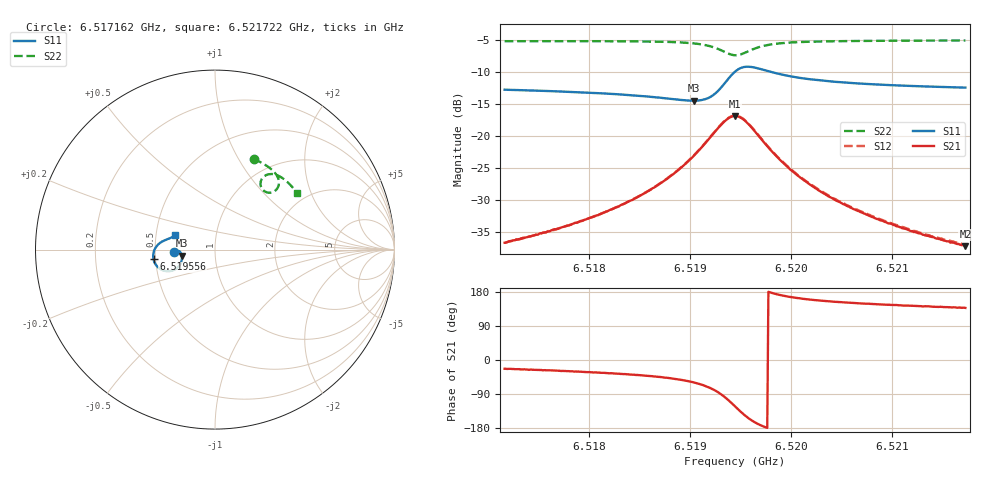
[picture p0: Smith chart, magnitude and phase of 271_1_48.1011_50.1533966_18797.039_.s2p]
#  HZ  S  RI  R  50.00
! Rohde & Schwarz Vector Network Analyzer
! Rohde-Schwarz,ZNB20-2Port,1311601062101988,3.16
! Created: UTC 12/23/2023, 4:01:45 AM
! freq[Hz]  re:S11  im:S11  re:S21  im:S21  re:S12  im:S12  re:S22  im:S22
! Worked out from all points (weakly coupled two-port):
!   401 points, 6.517162 GHz to 6.521722 GHz, reference 50 ohm
!   highest |S21| = -16.89 dB at 6.519442 GHz (marker M1); lowest = -37.2 dB at 6.521722 GHz (marker M2)
!   lowest |S11| = -14.5 dB at 6.519032 GHz (marker M3), VSWR 1.46, Z = 34.3 - j2.46 ohm
!   |S11| at or under -10 dB: start of sweep to 6.51944 GHz; 6.519797 GHz to end of sweep
!   |S22| runs from -7.4 to -5.1 dB; largest |S21 - S12| = 0.0043
!   S11 on the Smith chart (normalised r, x): 6.517162 GHz: 0.63, -0.02; 6.519556 GHz: 0.49, -0.06; 6.521722 GHz: 0.63, +0.10
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6.5171617e9  -0.2291 -0.0138  0.0135 -0.00577  0.0137 -0.00526  0.2147 0.5049
6.5175836e9  -0.2241 -0.00779  0.016 -0.00823  0.0162 -0.00769  0.2456 0.4908
6.5179256e9  -0.2188 -0.00433  0.0186 -0.0112  0.0189 -0.0106  0.2709 0.4773
6.5183361e9  -0.2102 -0.00285  0.0234 -0.0178  0.024 -0.017  0.3018 0.4572
6.5186895e9  -0.1992 -0.00815  0.0299 -0.0295  0.031 -0.0286  0.3293 0.4329
6.5188719e9  -0.1915 -0.0177  0.0338 -0.0415  0.0353 -0.0406  0.3435 0.4147
6.5190315e9  -0.1852 -0.0346  0.036 -0.0598  0.0379 -0.0591  0.3538 0.3915
6.5191342e9  -0.1847 -0.0541  0.0331 -0.0786  0.0358 -0.0782  0.3565 0.3705
6.5192254e9  -0.1923 -0.0793  0.0222 -0.1014  0.0255 -0.1014  0.3507 0.3471
6.5193508e9  -0.2369 -0.1166  -0.023 -0.1305  -0.0194 -0.1323  0.3158 0.3183
6.5193964e9  -0.2657 -0.1205  -0.0497 -0.131  -0.0462 -0.1336  0.2948 0.3177
6.519442e9  -0.2968 -0.1127  -0.0764 -0.1209  -0.0734 -0.1241  0.2741 0.3264
6.519499e9  -0.3276 -0.0873  -0.1011 -0.0953  -0.0991 -0.099  0.2572 0.3481
6.519556e9  -0.3426 -0.0542  -0.1106 -0.0648  -0.1096 -0.0685  0.2539 0.3734
6.5196586e9  -0.3385 -0.00433  -0.1015 -0.0227  -0.1017 -0.0258  0.2708 0.4057
6.519784e9  -0.317 0.0282  -0.0794 0.0015  -0.0803 -0.000666  0.2991 0.4198
6.5199779e9  -0.2895 0.0477  -0.0544 0.0128  -0.0554 0.0113  0.3326 0.4188
6.5202059e9  -0.2697 0.0564  -0.038 0.0147  -0.0389 0.0138  0.3601 0.4082
6.5205251e9  -0.2534 0.0625  -0.0257 0.0137  -0.0266 0.0132  0.3875 0.3899
6.5209698e9  -0.2398 0.0689  -0.0172 0.0116  -0.0176 0.0115  0.417 0.3633
6.5213232e9  -0.232 0.0738  -0.0132 0.0103  -0.0137 0.0102  0.4368 0.3417
6.5217223e9  -0.2248 0.0791  -0.0102 0.00934  -0.0107 0.00926  0.4568 0.317
